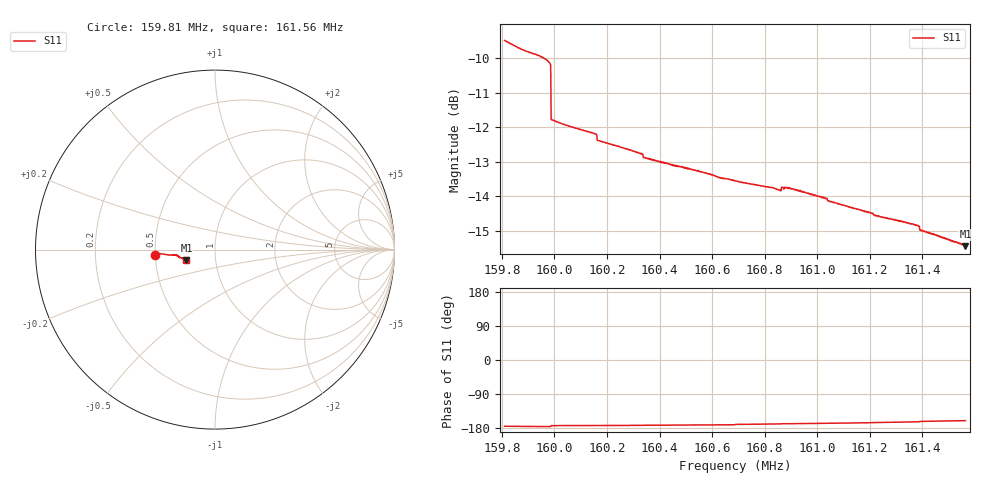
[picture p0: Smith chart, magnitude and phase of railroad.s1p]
! Calibrated averaged scanner-service zoom
# Hz S RI R 50
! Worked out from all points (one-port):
!   1001 points, 159.81 MHz to 161.56 MHz, reference 50 ohm
!   lowest |S11| = -15.4 dB at 161.56 MHz (marker M1), VSWR 1.41, Z = 36.1 - j4.3 ohm
!   |S11| at or under -10 dB: 159.96 MHz to end of sweep
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1.5981e8  -0.3338 -0.0303
1.59882e8  -0.3235 -0.0272
1.599469e8  -0.3169 -0.0249
1.599767e8  -0.3115 -0.0234
1.59996e8  -0.255 -0.0302
1.600294e8  -0.2523 -0.0306
1.601522e8  -0.2441 -0.0303
1.601715e8  -0.2383 -0.0298
1.602488e8  -0.2334 -0.0298
1.603277e8  -0.2278 -0.0305
1.60347e8  -0.2245 -0.031
1.604681e8  -0.2187 -0.0318
1.606752e8  -0.208 -0.0333
1.606875e8  -0.2074 -0.0334
1.60698e8  -0.2065 -0.0366
1.608261e8  -0.2018 -0.0396
1.608542e8  -0.2 -0.0401
1.608735e8  -0.1999 -0.0428
1.609069e8  -0.2002 -0.0428
1.610297e8  -0.1938 -0.0442
1.61049e8  -0.191 -0.0444
1.611262e8  -0.1869 -0.0459
1.612052e8  -0.1829 -0.0474
1.612263e8  -0.1808 -0.0488
1.613456e8  -0.1753 -0.0513
1.613807e8  -0.1734 -0.0524
1.614e8  -0.1696 -0.0551
1.61565e8  -0.1589 -0.0579
